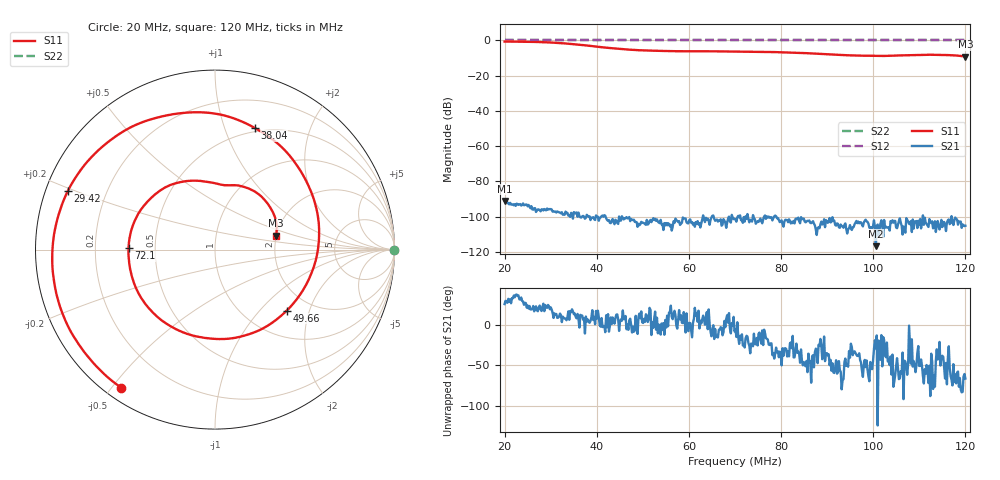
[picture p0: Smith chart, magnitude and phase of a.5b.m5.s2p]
! Anritsu VNA Master:  Model: MS2036C/10/77
! SN:  1601066
! /bd0/18may8/255.ns.m55.s2p
! Existing Calibration Information:
! TYPE:  Current Settings,  Active Cal Settings
! TIME:  05/08/2018 11:09:17 AM,  05/08/2018 10:55:57 AM
! INTERNAL TEMP:  50.8 C,  49.3 C
! # POINTS:  500,  500
! START FREQ:  20.000 MHz,  20.000 MHz
! STOP FREQ:  120.000 MHz,  120.000 MHz
! SOURCE POWER:  High,  High
! IFBW:  50 Hz,  50 Hz
! AVG FACTOR:  1 ,  1
! REF PLANE 1:  0 mm,  0 mm
! REF PLANE 2:  0 mm,  0 mm
! CAL TYPE:  Full S11,  Full S11
! CAL METHOD:  SOLT,  SOLT
! CAL LINE TYPE:  Coax,  Coax
! DUT PORT 1:  K-Conn(F),  K-Conn(F)
! DUT PORT 2:  K-Conn(F),  K-Conn(F)
! CAL STATUS:  OK: Accuracy High,  --
# GHZ S DB R 50.0
! FREQ.GHZ  S11DB  S11A  S21DB  S21A  S12DB  S12A  S22DB  S22A
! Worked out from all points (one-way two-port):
!   500 points, 20 MHz to 120 MHz, reference 50 ohm
!   highest |S21| = -91.05 dB at 20 MHz (marker M1); lowest = -116.8 dB at 100.6 MHz (marker M2)
!   lowest |S11| = -9.2 dB at 120 MHz (marker M3), VSWR 2.07, Z = 99.3 + j17.6 ohm
!   |S11| at or under -10 dB: nowhere
!   |S22| runs from 0.0 to 0.0 dB; largest |S21 - S12| = 1
!   S11 on the Smith chart (normalised r, x): 20 MHz: 0.05, -0.53; 29.42 MHz: 0.06, +0.19; 38.04 MHz: 0.46, +1.27; 49.66 MHz: 1.52, -1.43; 72.1 MHz: 0.35, +0.01; 120 MHz: 1.99, +0.35
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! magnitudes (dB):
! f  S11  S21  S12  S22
! 20 MHz  -0.6  -91.0  0.0  0.0
! 25.01 MHz  -0.7  -94.2  0.0  0.0
! 29.42 MHz  -1.1  -96.0  0.0  0.0
! 32.83 MHz  -1.6  -98.6  0.0  0.0
! 36.83 MHz  -2.6  -99.9  0.0  0.0
! 38.04 MHz  -2.9  -99.6  0.0  0.0
! 41.64 MHz  -4.0  -99.1  0.0  0.0
! 44.45 MHz  -4.7  -103.6  0.0  0.0
! 49.66 MHz  -5.6  -102.9  0.0  0.0
! 53.47 MHz  -5.9  -103.4  0.0  0.0
! 57.07 MHz  -6.1  -101.1  0.0  0.0
! 70.1 MHz  -6.3  -101.5  0.0  0.0
! 72.1 MHz  -6.3  -102.8  0.0  0.0
! 77.92 MHz  -6.6  -100.3  0.0  0.0
! 86.73 MHz  -7.4  -103.2  0.0  0.0
! 94.35 MHz  -8.4  -109.6  0.0  0.0
! 100.6 MHz  -8.8  -116.8  0.0  0.0
! 103.4 MHz  -8.7  -106.0  0.0  0.0
! 110 MHz  -8.2  -104.7  0.0  0.0
! 113 MHz  -8.1  -106.6  0.0  0.0
! 117.4 MHz  -8.4  -104.7  0.0  0.0
! 120 MHz  -9.2  -105.2  0.0  0.0
